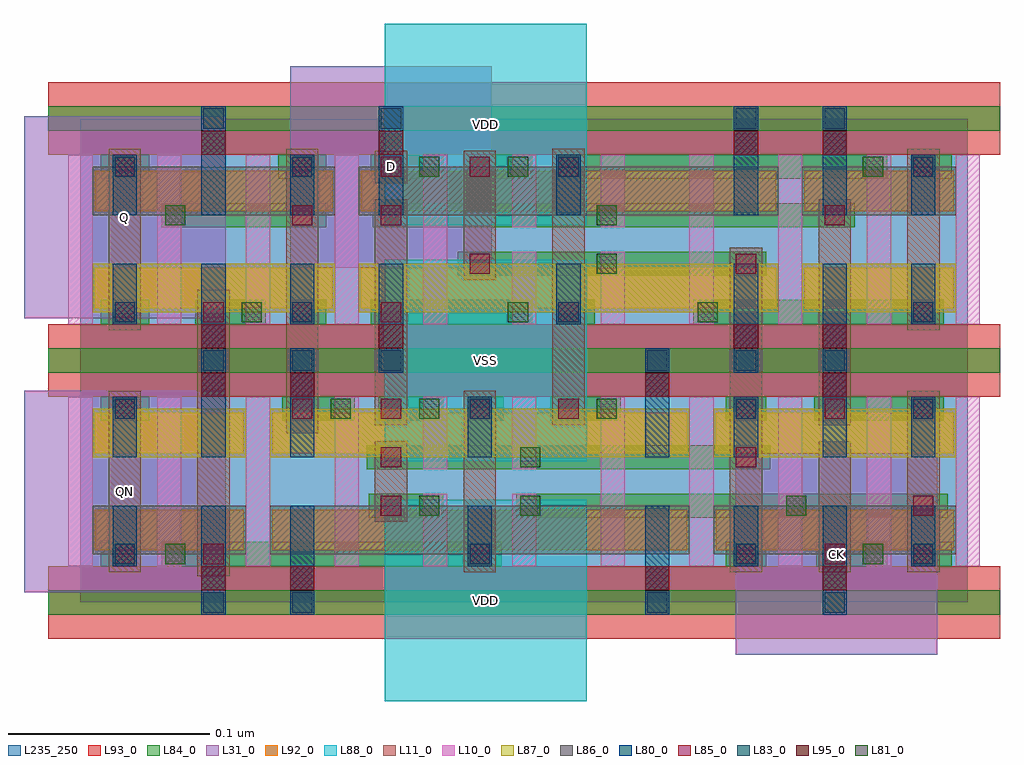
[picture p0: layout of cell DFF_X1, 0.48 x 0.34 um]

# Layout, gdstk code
import gdstk
lib = gdstk.Library(unit=1e-6, precision=1e-09)
def R(c, l, rs):  # rectangles x0, y0, x1, y1
    for r in rs: c.add(gdstk.rectangle(r[:2], r[2:], *l))
def A(c, l, x, y, w, h, nx, ny, dx, dy):  # array of equal rectangles
    R(c, l, [(x+i*dx, y+j*dy, x+i*dx+w, y+j*dy+h) for i in range(nx) for j in range(ny)])
L10_0 = (10, 0)
L11_0 = (11, 0)
L31_0 = (31, 0)
L80_0 = (80, 0)
L81_0 = (81, 0)
L83_0 = (83, 0)
L84_0 = (84, 0)
L85_0 = (85, 0)
L86_0 = (86, 0)
L87_0 = (87, 0)
L88_0 = (88, 0)
L92_0 = (92, 0)
L93_0 = (93, 0)
L95_0 = (95, 0)
L235_250 = (235, 250)

dff_x1 = lib.new_cell('DFF_X1')
A(dff_x1, L10_0, -0.006, 0.018, 0.012, 0.084, 4, 1, 0.044, 0)
A(dff_x1, L10_0, 0.258, 0.018, 0.012, 0.084, 5, 1, 0.044, 0)
A(dff_x1, L10_0, -0.006, 0.138, 0.012, 0.084, 5, 1, 0.044, 0)
A(dff_x1, L10_0, 0.302, 0.138, 0.012, 0.084, 4, 1, 0.044, 0)
R(dff_x1, L10_0, [(0.17,0.018,0.182,0.054), (0.214,0.018,0.226,0.054), (0.17,0.066,0.182,0.102), (0.214,0.066,0.226,0.102), (0.214,0.138,0.226,0.174), (0.258,0.138,0.27,0.174), (0.214,0.186,0.226,0.222), (0.258,0.186,0.27,0.222)])
R(dff_x1, L11_0, [(0.058,0.013,0.074,0.155), (0.014,0.015,0.03,0.105), (0.19,0.015,0.206,0.105), (0.322,0.015,0.338,0.176), (0.366,0.015,0.382,0.08), (0.41,0.015,0.426,0.105), (0.146,0.04,0.162,0.08), (0.102,0.084,0.118,0.225), (0.146,0.088,0.162,0.2), (0.234,0.088,0.25,0.225), (0.366,0.088,0.382,0.2), (0.014,0.135,0.03,0.225), (0.41,0.135,0.426,0.225), (0.19,0.16,0.206,0.224), (0.146,0.208,0.162,0.224)])
R(dff_x1, L31_0, [(0.325,-0.026,0.425,0.074), (-0.028,0.005,0.072,0.105), (-0.028,0.141,0.072,0.241), (0.104,0.166,0.204,0.266)])
R(dff_x1, L80_0, [(0.06,-0.006,0.072,0.048), (0.104,-0.006,0.116,0.048), (0.28,-0.006,0.292,0.048), (0.368,-0.006,0.38,0.048), (0.016,0.018,0.028,0.048), (0.192,0.018,0.204,0.048), (0.324,0.018,0.336,0.048), (0.412,0.018,0.424,0.048), (0.016,0.072,0.028,0.102), (0.06,0.072,0.072,0.168), (0.104,0.072,0.116,0.126), (0.192,0.072,0.204,0.102), (0.28,0.072,0.292,0.126), (0.324,0.072,0.336,0.102), (0.368,0.072,0.38,0.168), (0.412,0.072,0.424,0.102), (0.148,0.114,0.16,0.168), (0.324,0.114,0.336,0.168), (0.016,0.138,0.028,0.168), (0.104,0.138,0.116,0.168), (0.236,0.138,0.248,0.168), (0.412,0.138,0.424,0.168), (0.016,0.192,0.028,0.222), (0.06,0.192,0.072,0.246), (0.104,0.192,0.116,0.222), (0.148,0.192,0.16,0.246), (0.236,0.192,0.248,0.222), (0.324,0.192,0.336,0.246), (0.368,0.192,0.38,0.246), (0.412,0.192,0.424,0.222)])
R(dff_x1, L81_0, [(0.042,0.019,0.052,0.029), (0.388,0.019,0.398,0.029), (0.168,0.043,0.178,0.053), (0.218,0.043,0.228,0.053), (0.35,0.043,0.36,0.053), (0.218,0.067,0.228,0.077), (0.124,0.091,0.134,0.101), (0.168,0.091,0.178,0.101), (0.256,0.091,0.266,0.101), (0.08,0.139,0.09,0.149), (0.212,0.139,0.222,0.149), (0.306,0.139,0.316,0.149), (0.256,0.163,0.266,0.173), (0.042,0.187,0.052,0.197), (0.256,0.187,0.266,0.197), (0.168,0.211,0.178,0.221), (0.212,0.211,0.222,0.221), (0.388,0.211,0.398,0.221)])
A(dff_x1, L83_0, 0.061, 0.115, 0.01, 0.01, 3, 1, 0.044, 0)
A(dff_x1, L83_0, 0.281, 0.115, 0.01, 0.01, 3, 1, 0.044, 0)
R(dff_x1, L83_0, [(0.061,-0.005,0.071,0.005), (0.105,-0.005,0.115,0.005), (0.281,-0.005,0.291,0.005), (0.369,-0.005,0.379,0.005), (0.017,0.019,0.027,0.029), (0.193,0.019,0.203,0.029), (0.325,0.019,0.335,0.029), (0.413,0.019,0.423,0.029), (0.017,0.091,0.027,0.101), (0.193,0.091,0.203,0.101), (0.325,0.091,0.335,0.101), (0.413,0.091,0.423,0.101), (0.017,0.139,0.027,0.149), (0.105,0.139,0.115,0.149), (0.237,0.139,0.247,0.149), (0.413,0.139,0.423,0.149), (0.017,0.211,0.027,0.221), (0.105,0.211,0.115,0.221), (0.237,0.211,0.247,0.221), (0.413,0.211,0.423,0.221), (0.061,0.235,0.071,0.245), (0.149,0.235,0.159,0.245), (0.325,0.235,0.335,0.245), (0.369,0.235,0.379,0.245)])
A(dff_x1, L84_0, -0.016, -0.006, 0.472, 0.012, 1, 3, 0, 0.12)
R(dff_x1, L84_0, [(0.01,0.018,0.028,0.03), (0.04,0.018,0.209,0.03), (0.32,0.018,0.34,0.03), (0.365,0.018,0.4,0.03), (0.412,0.018,0.432,0.03), (0.143,0.042,0.18,0.054), (0.216,0.042,0.43,0.054), (0.142,0.066,0.342,0.078), (0.01,0.09,0.034,0.102), (0.1,0.09,0.136,0.102), (0.148,0.09,0.18,0.102), (0.192,0.09,0.21,0.102), (0.233,0.09,0.268,0.102), (0.32,0.09,0.34,0.102), (0.364,0.09,0.428,0.102), (0.01,0.138,0.034,0.15), (0.057,0.138,0.092,0.15), (0.104,0.138,0.122,0.15), (0.144,0.138,0.224,0.15), (0.236,0.138,0.255,0.15), (0.304,0.138,0.428,0.15), (0.187,0.162,0.34,0.174), (0.04,0.186,0.122,0.198), (0.145,0.186,0.384,0.198), (0.01,0.21,0.034,0.222), (0.098,0.21,0.122,0.222), (0.144,0.21,0.18,0.222), (0.192,0.21,0.224,0.222), (0.236,0.21,0.4,0.222), (0.412,0.21,0.432,0.222)])
A(dff_x1, L85_0, 0.061, 0.019, 0.01, 0.01, 3, 1, 0.132, 0)
A(dff_x1, L85_0, 0.105, 0.091, 0.01, 0.01, 4, 2, 0.044, 0.12)
A(dff_x1, L85_0, 0.325, 0.091, 0.01, 0.01, 3, 1, 0.044, 0)
A(dff_x1, L85_0, 0.017, 0.139, 0.01, 0.01, 4, 1, 0.044, 0)
R(dff_x1, L85_0, [(0.017,0.019,0.027,0.029), (0.369,0.019,0.379,0.029), (0.413,0.019,0.423,0.029), (0.149,0.043,0.159,0.053), (0.413,0.043,0.423,0.053), (0.149,0.067,0.159,0.077), (0.325,0.067,0.335,0.077), (0.017,0.091,0.027,0.101), (0.237,0.139,0.247,0.149), (0.413,0.139,0.423,0.149), (0.193,0.163,0.203,0.173), (0.325,0.163,0.335,0.173), (0.105,0.187,0.115,0.197), (0.149,0.187,0.159,0.197), (0.369,0.187,0.379,0.197), (0.017,0.211,0.027,0.221), (0.413,0.211,0.423,0.221)])
R(dff_x1, L86_0, [(0.006,0.024,0.082,0.048), (0.094,0.024,0.302,0.048), (0.314,0.024,0.434,0.048), (0.006,0.192,0.126,0.216), (0.138,0.192,0.346,0.216), (0.358,0.192,0.434,0.216)])
R(dff_x1, L87_0, [(0.006,0.072,0.082,0.096), (0.094,0.072,0.302,0.096), (0.314,0.072,0.434,0.096), (0.006,0.144,0.126,0.168), (0.138,0.144,0.346,0.168), (0.358,0.144,0.434,0.168)])
R(dff_x1, L88_0, [(0.151,-0.049,0.251,0.051), (0.151,0.07,0.251,0.17), (0.151,0.187,0.251,0.287)])
R(dff_x1, L92_0, [(0.007,0.026,0.081,0.046), (0.095,0.026,0.301,0.046), (0.315,0.026,0.433,0.046), (0.007,0.074,0.081,0.094), (0.095,0.074,0.301,0.094), (0.315,0.074,0.433,0.094), (0.007,0.146,0.125,0.166), (0.139,0.146,0.345,0.166), (0.359,0.146,0.433,0.166), (0.007,0.194,0.125,0.214), (0.139,0.194,0.345,0.214), (0.359,0.194,0.433,0.214)])
A(dff_x1, L93_0, -0.016, -0.018, 0.472, 0.036, 1, 3, 0, 0.12)
R(dff_x1, L95_0, [(0.06,0.006,0.072,0.018), (0.104,0.006,0.116,0.018), (0.28,0.006,0.292,0.018), (0.368,0.006,0.38,0.018), (0.06,0.102,0.072,0.114), (0.104,0.102,0.116,0.114), (0.28,0.102,0.292,0.114), (0.368,0.102,0.38,0.114), (0.06,0.126,0.072,0.138), (0.148,0.126,0.16,0.138), (0.324,0.126,0.336,0.138), (0.368,0.126,0.38,0.138), (0.06,0.222,0.072,0.234), (0.148,0.222,0.16,0.234), (0.324,0.222,0.336,0.234), (0.368,0.222,0.38,0.234)])
R(dff_x1, L235_250, [(0,0,0.44,0.24)])
dff_x1.add(gdstk.Label('VSS', (0.201,0.12), layer=88, texttype=0))
dff_x1.add(gdstk.Label('VDD', (0.201,0.001), layer=88, texttype=0))
dff_x1.add(gdstk.Label('VDD', (0.201,0.237), layer=88, texttype=0))
dff_x1.add(gdstk.Label('D', (0.154,0.216), layer=31, texttype=0))
dff_x1.add(gdstk.Label('QN', (0.022,0.055), layer=31, texttype=0))
dff_x1.add(gdstk.Label('Q', (0.022,0.191), layer=31, texttype=0))
dff_x1.add(gdstk.Label('CK', (0.375,0.024), layer=31, texttype=0))

lib.write_gds('DFF_X1.gds')
